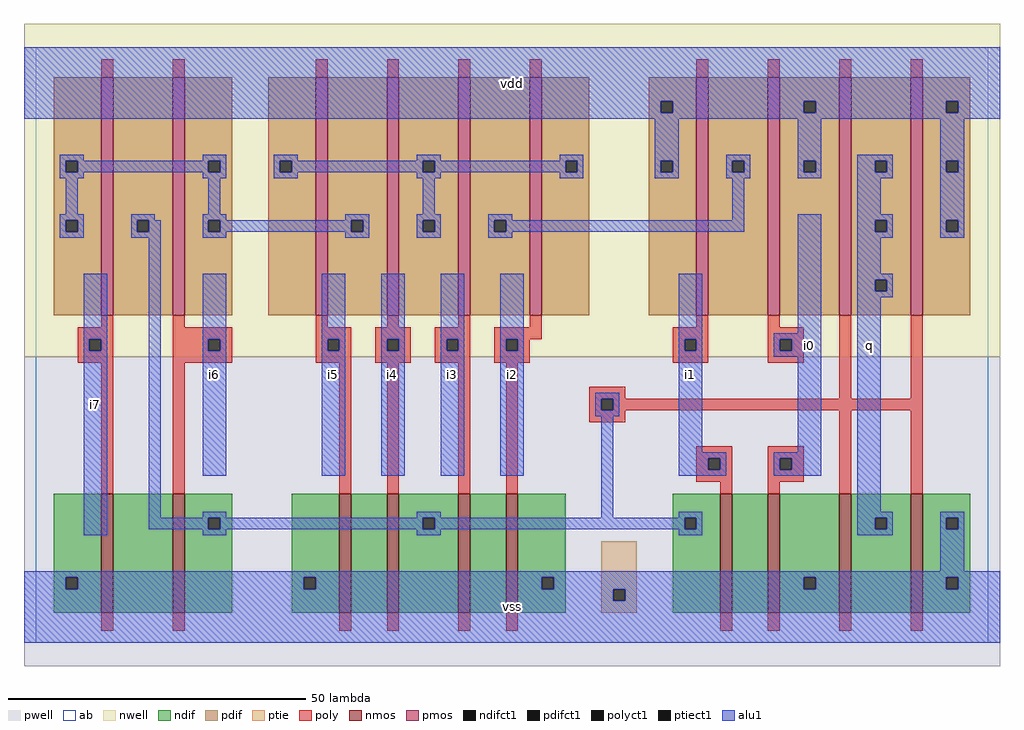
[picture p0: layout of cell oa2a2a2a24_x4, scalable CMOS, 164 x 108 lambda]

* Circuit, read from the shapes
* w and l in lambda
.subckt oa2a2a2a24_x4 i0 i1 i2 i3 i4 i5 i6 i7 q vdd vss
M1 n1 i7 vss vss nfet w=20 l=2
M2 n2 i6 n1 vss nfet w=20 l=2
M3 n3 i5 vss vss nfet w=20 l=2
M4 n2 i4 n3 vss nfet w=20 l=2
M5 n4 i3 n2 vss nfet w=20 l=2
M6 vss i2 n4 vss nfet w=20 l=2
M7 n5 i1 n2 vss nfet w=20 l=2
M8 vss i0 n5 vss nfet w=20 l=2
M9 q n2 vss vss nfet w=20 l=2 m=2
M10 n2 i7 n6 n7 pfet w=40 l=2
M11 n6 i6 n2 n7 pfet w=40 l=2
M12 n6 i5 n8 n7 pfet w=40 l=2
M13 n8 i4 n6 n7 pfet w=40 l=2
M14 n9 i3 n8 n7 pfet w=40 l=2
M15 n8 i2 n9 n7 pfet w=40 l=2
M16 n9 i1 vdd n7 pfet w=40 l=2
M17 vdd i0 n9 n7 pfet w=40 l=2
M18 q n2 vdd n7 pfet w=40 l=2 m=2
.ends

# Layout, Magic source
magic
tech scmos
<< ab >>
rect 0 0 160 100
<< nwell >>
rect -2 48 162 104
<< pwell >>
rect -2 -4 162 48
<< poly >>
rect 11 95 13 98
rect 23 95 25 98
rect 47 95 49 98
rect 59 95 61 98
rect 71 95 73 98
rect 83 95 85 98
rect 111 95 113 98
rect 123 95 125 98
rect 135 95 137 98
rect 147 95 149 98
rect 11 53 13 55
rect 7 51 13 53
rect 7 49 9 51
rect 11 49 13 51
rect 7 47 13 49
rect 11 25 13 47
rect 23 53 25 55
rect 47 53 49 55
rect 59 53 61 55
rect 71 53 73 55
rect 83 53 85 55
rect 111 53 113 55
rect 23 51 33 53
rect 23 49 29 51
rect 31 49 33 51
rect 23 47 33 49
rect 47 51 53 53
rect 47 49 49 51
rect 51 49 53 51
rect 47 47 53 49
rect 57 51 63 53
rect 57 49 59 51
rect 61 49 63 51
rect 57 47 63 49
rect 67 51 73 53
rect 67 49 69 51
rect 71 49 73 51
rect 67 47 73 49
rect 77 51 85 53
rect 107 51 113 53
rect 77 49 79 51
rect 81 49 83 51
rect 77 47 83 49
rect 107 49 109 51
rect 111 49 113 51
rect 107 47 113 49
rect 123 53 125 55
rect 123 51 129 53
rect 123 49 125 51
rect 127 49 129 51
rect 123 47 129 49
rect 23 25 25 47
rect 51 25 53 47
rect 59 25 61 47
rect 71 25 73 47
rect 79 25 81 47
rect 93 41 99 43
rect 135 41 137 55
rect 147 41 149 55
rect 93 39 95 41
rect 97 39 149 41
rect 93 37 99 39
rect 111 31 117 33
rect 111 29 113 31
rect 115 29 117 31
rect 111 27 117 29
rect 115 25 117 27
rect 123 31 129 33
rect 123 29 125 31
rect 127 29 129 31
rect 123 27 129 29
rect 123 25 125 27
rect 135 25 137 39
rect 147 25 149 39
rect 11 2 13 5
rect 23 2 25 5
rect 51 2 53 5
rect 59 2 61 5
rect 71 2 73 5
rect 79 2 81 5
rect 115 2 117 5
rect 123 2 125 5
rect 135 2 137 5
rect 147 2 149 5
<< ndif >>
rect 3 11 11 25
rect 3 9 5 11
rect 7 9 11 11
rect 3 5 11 9
rect 13 5 23 25
rect 25 21 33 25
rect 25 19 29 21
rect 31 19 33 21
rect 25 5 33 19
rect 43 11 51 25
rect 43 9 45 11
rect 47 9 51 11
rect 43 5 51 9
rect 53 5 59 25
rect 61 21 71 25
rect 61 19 65 21
rect 67 19 71 21
rect 61 5 71 19
rect 73 5 79 25
rect 81 11 89 25
rect 107 21 115 25
rect 107 19 109 21
rect 111 19 115 21
rect 81 9 85 11
rect 87 9 89 11
rect 81 5 89 9
rect 107 5 115 19
rect 117 5 123 25
rect 125 11 135 25
rect 125 9 129 11
rect 131 9 135 11
rect 125 5 135 9
rect 137 21 147 25
rect 137 19 141 21
rect 143 19 147 21
rect 137 5 147 19
rect 149 21 157 25
rect 149 19 153 21
rect 155 19 157 21
rect 149 11 157 19
rect 149 9 153 11
rect 155 9 157 11
rect 149 5 157 9
<< pdif >>
rect 3 81 11 95
rect 3 79 5 81
rect 7 79 11 81
rect 3 71 11 79
rect 3 69 5 71
rect 7 69 11 71
rect 3 55 11 69
rect 13 71 23 95
rect 13 69 17 71
rect 19 69 23 71
rect 13 55 23 69
rect 25 81 33 95
rect 25 79 29 81
rect 31 79 33 81
rect 25 71 33 79
rect 25 69 29 71
rect 31 69 33 71
rect 25 55 33 69
rect 39 81 47 95
rect 39 79 41 81
rect 43 79 47 81
rect 39 55 47 79
rect 49 71 59 95
rect 49 69 53 71
rect 55 69 59 71
rect 49 55 59 69
rect 61 81 71 95
rect 61 79 65 81
rect 67 79 71 81
rect 61 71 71 79
rect 61 69 65 71
rect 67 69 71 71
rect 61 55 71 69
rect 73 71 83 95
rect 73 69 77 71
rect 79 69 83 71
rect 73 55 83 69
rect 85 81 93 95
rect 85 79 89 81
rect 91 79 93 81
rect 85 55 93 79
rect 103 91 111 95
rect 103 89 105 91
rect 107 89 111 91
rect 103 81 111 89
rect 103 79 105 81
rect 107 79 111 81
rect 103 55 111 79
rect 113 81 123 95
rect 113 79 117 81
rect 119 79 123 81
rect 113 55 123 79
rect 125 91 135 95
rect 125 89 129 91
rect 131 89 135 91
rect 125 81 135 89
rect 125 79 129 81
rect 131 79 135 81
rect 125 55 135 79
rect 137 81 147 95
rect 137 79 141 81
rect 143 79 147 81
rect 137 71 147 79
rect 137 69 141 71
rect 143 69 147 71
rect 137 61 147 69
rect 137 59 141 61
rect 143 59 147 61
rect 137 55 147 59
rect 149 91 157 95
rect 149 89 153 91
rect 155 89 157 91
rect 149 81 157 89
rect 149 79 153 81
rect 155 79 157 81
rect 149 71 157 79
rect 149 69 153 71
rect 155 69 157 71
rect 149 55 157 69
<< alu1 >>
rect -2 91 162 100
rect -2 89 105 91
rect 107 89 129 91
rect 131 89 153 91
rect 155 89 162 91
rect -2 88 162 89
rect 4 81 8 82
rect 28 81 32 82
rect 4 79 5 81
rect 7 79 29 81
rect 31 79 32 81
rect 4 78 8 79
rect 28 78 32 79
rect 40 81 44 82
rect 64 81 68 82
rect 88 81 92 82
rect 40 79 41 81
rect 43 79 65 81
rect 67 79 89 81
rect 91 79 92 81
rect 40 78 44 79
rect 64 78 68 79
rect 88 78 92 79
rect 104 81 108 88
rect 104 79 105 81
rect 107 79 108 81
rect 104 78 108 79
rect 116 81 120 82
rect 116 79 117 81
rect 119 79 120 81
rect 116 78 120 79
rect 128 81 132 88
rect 128 79 129 81
rect 131 79 132 81
rect 128 78 132 79
rect 138 81 144 82
rect 138 79 141 81
rect 143 79 144 81
rect 138 78 144 79
rect 152 81 156 88
rect 152 79 153 81
rect 155 79 156 81
rect 5 72 7 78
rect 29 72 31 78
rect 65 72 67 78
rect 4 71 8 72
rect 4 69 5 71
rect 7 69 8 71
rect 4 68 8 69
rect 16 71 20 72
rect 28 71 32 72
rect 52 71 56 72
rect 16 69 17 71
rect 19 69 21 71
rect 16 68 21 69
rect 28 69 29 71
rect 31 69 53 71
rect 55 69 56 71
rect 28 68 32 69
rect 52 68 56 69
rect 64 71 68 72
rect 64 69 65 71
rect 67 69 68 71
rect 64 68 68 69
rect 76 71 80 72
rect 117 71 119 78
rect 138 72 142 78
rect 76 69 77 71
rect 79 69 119 71
rect 76 68 80 69
rect 8 51 12 62
rect 8 49 9 51
rect 11 49 12 51
rect 8 18 12 49
rect 19 21 21 68
rect 28 51 32 62
rect 28 49 29 51
rect 31 49 32 51
rect 28 28 32 49
rect 48 51 52 62
rect 48 49 49 51
rect 51 49 52 51
rect 48 28 52 49
rect 58 51 62 62
rect 58 49 59 51
rect 61 49 62 51
rect 58 28 62 49
rect 68 51 72 62
rect 68 49 69 51
rect 71 49 72 51
rect 68 28 72 49
rect 78 51 82 62
rect 78 49 79 51
rect 81 49 82 51
rect 78 28 82 49
rect 108 51 112 62
rect 128 52 132 72
rect 108 49 109 51
rect 111 49 112 51
rect 94 41 98 42
rect 94 39 95 41
rect 97 39 98 41
rect 94 38 98 39
rect 28 21 32 22
rect 64 21 68 22
rect 95 21 97 38
rect 108 32 112 49
rect 124 51 132 52
rect 124 49 125 51
rect 127 49 132 51
rect 124 48 132 49
rect 128 32 132 48
rect 108 31 116 32
rect 108 29 113 31
rect 115 29 116 31
rect 108 28 116 29
rect 124 31 132 32
rect 124 29 125 31
rect 127 29 132 31
rect 124 28 132 29
rect 138 71 144 72
rect 138 69 141 71
rect 143 69 144 71
rect 138 68 144 69
rect 152 71 156 79
rect 152 69 153 71
rect 155 69 156 71
rect 152 68 156 69
rect 138 62 142 68
rect 138 61 144 62
rect 138 59 141 61
rect 143 59 144 61
rect 138 58 144 59
rect 138 22 142 58
rect 108 21 112 22
rect 19 19 29 21
rect 31 19 65 21
rect 67 19 109 21
rect 111 19 112 21
rect 28 18 32 19
rect 64 18 68 19
rect 108 18 112 19
rect 138 21 144 22
rect 138 19 141 21
rect 143 19 144 21
rect 138 18 144 19
rect 152 21 156 22
rect 152 19 153 21
rect 155 19 156 21
rect 152 12 156 19
rect -2 11 162 12
rect -2 9 5 11
rect 7 9 45 11
rect 47 9 85 11
rect 87 9 129 11
rect 131 9 153 11
rect 155 9 162 11
rect -2 7 97 9
rect 99 7 162 9
rect -2 0 162 7
<< ptie >>
rect 95 9 101 17
rect 95 7 97 9
rect 99 7 101 9
rect 95 5 101 7
<< nmos >>
rect 11 5 13 25
rect 23 5 25 25
rect 51 5 53 25
rect 59 5 61 25
rect 71 5 73 25
rect 79 5 81 25
rect 115 5 117 25
rect 123 5 125 25
rect 135 5 137 25
rect 147 5 149 25
<< pmos >>
rect 11 55 13 95
rect 23 55 25 95
rect 47 55 49 95
rect 59 55 61 95
rect 71 55 73 95
rect 83 55 85 95
rect 111 55 113 95
rect 123 55 125 95
rect 135 55 137 95
rect 147 55 149 95
<< polyct1 >>
rect 9 49 11 51
rect 29 49 31 51
rect 49 49 51 51
rect 59 49 61 51
rect 69 49 71 51
rect 79 49 81 51
rect 109 49 111 51
rect 125 49 127 51
rect 95 39 97 41
rect 113 29 115 31
rect 125 29 127 31
<< ndifct1 >>
rect 5 9 7 11
rect 29 19 31 21
rect 45 9 47 11
rect 65 19 67 21
rect 109 19 111 21
rect 85 9 87 11
rect 129 9 131 11
rect 141 19 143 21
rect 153 19 155 21
rect 153 9 155 11
<< ptiect1 >>
rect 97 7 99 9
<< pdifct1 >>
rect 5 79 7 81
rect 5 69 7 71
rect 17 69 19 71
rect 29 79 31 81
rect 29 69 31 71
rect 41 79 43 81
rect 53 69 55 71
rect 65 79 67 81
rect 65 69 67 71
rect 77 69 79 71
rect 89 79 91 81
rect 105 89 107 91
rect 105 79 107 81
rect 117 79 119 81
rect 129 89 131 91
rect 129 79 131 81
rect 141 79 143 81
rect 141 69 143 71
rect 141 59 143 61
rect 153 89 155 91
rect 153 79 155 81
rect 153 69 155 71
<< labels >>
rlabel alu1 10 40 10 40 6 i7
rlabel alu1 50 45 50 45 6 i5
rlabel alu1 30 45 30 45 6 i6
rlabel alu1 80 6 80 6 6 vss
rlabel alu1 80 45 80 45 6 i2
rlabel alu1 70 45 70 45 6 i3
rlabel alu1 60 45 60 45 6 i4
rlabel alu1 80 94 80 94 6 vdd
rlabel alu1 110 45 110 45 6 i1
rlabel alu1 130 50 130 50 6 i0
rlabel alu1 140 50 140 50 6 q
<< end >>
